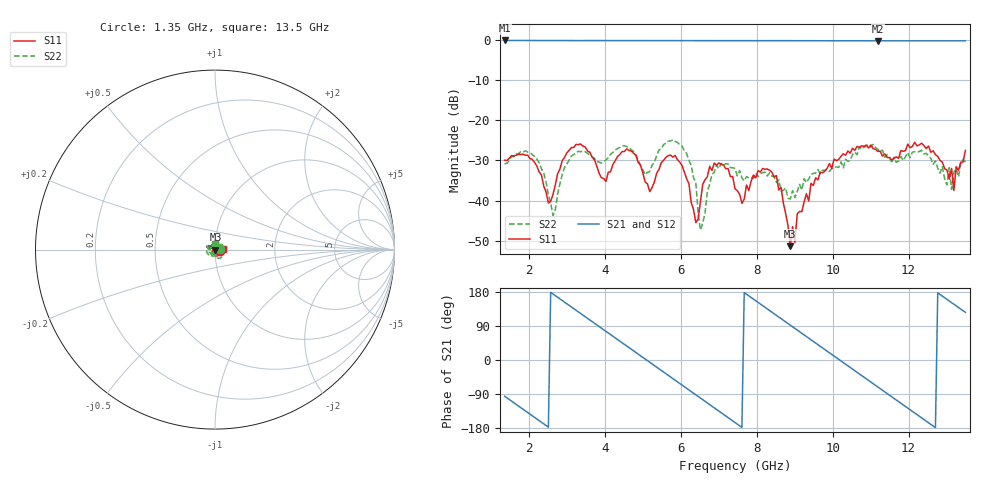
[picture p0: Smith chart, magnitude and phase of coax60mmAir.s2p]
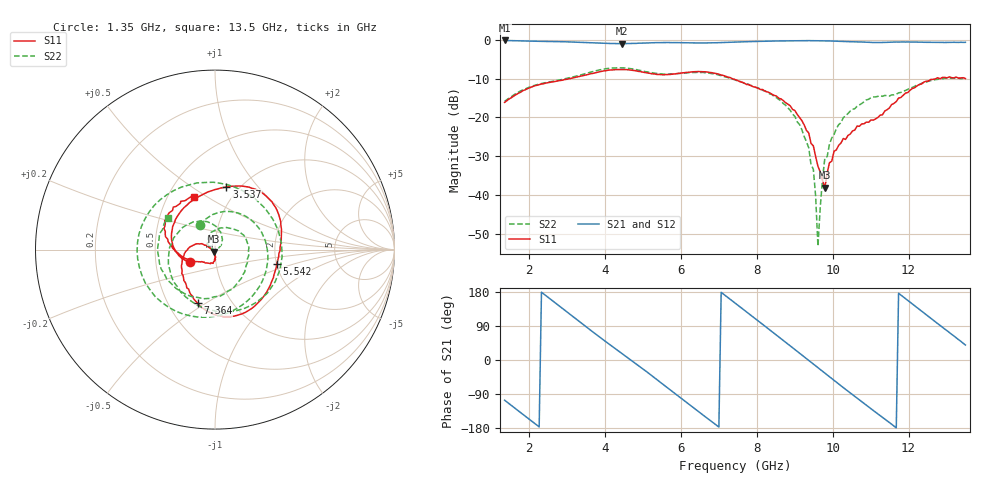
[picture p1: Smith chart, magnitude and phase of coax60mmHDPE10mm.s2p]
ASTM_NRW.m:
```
%%
%NRW from ASTM paper
% process_stripline
eps0=8.85418782e-12;
mu0=1.2566370614e-6;
c0=1/sqrt(eps0*mu0);
eta0=sqrt(mu0/eps0); % free space
c=1/sqrt(eps0*mu0);
material_width = 10e-3;
d = material_width;
%%
air_file = 'coax60mmAir.s2p';
frequency = dlmread(air_file,' ',9,0,[9 0 209 0])/1e9;
air_mag11 = dlmread(air_file,' ',9,1,[9 1 209 1]);
air_phase11 = dlmread(air_file,' ',9,2,[9 2 209 2]);
air_mag21 = dlmread(air_file,' ',9,3,[9 3 209 3]);
air_phase21 = dlmread(air_file,' ',9,4,[9 4 209 4]);
air_mag12 = dlmread(air_file,' ',9,5,[9 5 209 5]);
air_phase12 = dlmread(air_file,' ',9,6,[9 6 209 6]);
air_mag22 = dlmread(air_file,' ',9,7,[9 7 209 7]);
air_phase22 = dlmread(air_file,' ',9,8,[9 8 209 8]);
air11=complex((10.^(air_mag11/20)).*exp(1i*air_phase11/180*pi));
air21=complex((10.^(air_mag21/20)).*exp(1i*air_phase21/180*pi));
air12=complex((10.^(air_mag12/20)).*exp(1i*air_phase12/180*pi));

medium_file = 'coax60mmHDPE10mm.s2p';
%medium_file = 'Calibrated_coax_5mmCoZn-7-28-16.s2p';
med_mag11 = dlmread(medium_file,' ',9,1,[9 1 209 1]);
med_phase11 = dlmread(medium_file,' ',9,2,[9 2 209 2]);
med_mag21 = dlmread(medium_file,' ',9,3,[9 3 209 3]);
med_phase21 = dlmread(medium_file,' ',9,4,[9 4 209 4]);
med_mag12 = dlmread(medium_file,' ',9,5,[9 5 209 5]);
med_phase12 = dlmread(medium_file,' ',9,6,[9 6 209 6]);
med_mag22 = dlmread(medium_file,' ',9,7,[9 7 209 7]);
med_phase22 = dlmread(medium_file,' ',9,8,[9 8 209 8]);
med11=complex((10.^(med_mag11/20)).*exp(1i*med_phase11/180*pi));
med21=complex((10.^(med_mag21/20)).*exp(1i*med_phase21/180*pi));
med12=complex((10.^(med_mag12/20)).*exp(1i*med_phase12/180*pi));

time_air11=ifft(air11,8000);
time_air21=ifft(air21,8000);
time_air12=ifft(air12,8000);
time_med11=ifft(med11,8000);
time_med21=ifft(med21,8000);
time_med12=ifft(med12,8000);
%% Time gating
[tt,c1]=max(abs(time_air21));
t=zeros(length(time_air21),1);
t(:,1)=1:1:length(t);
win_length = 25000;
t_win=exp(-(t-c1).^2/win_length);
%{
figure(2)
plot(t_win*tt,'g--','linewidth',2)
hold on
plot(t,abs(time_air21),t,abs(time_med21))
legend('air','material')
xlim([(c1 - 1000) (c1 + 1000)])
%}
time_air11_filter=t_win.*time_air11;
time_air21_filter=t_win.*time_air21;
time_air12_filter=t_win.*time_air12;
time_med11_filter=t_win.*time_med21;
time_med21_filter=t_win.*time_med21;
time_med12_filter=t_win.*time_med12;

temp_air11=fft(time_air11_filter);
temp_air21=fft(time_air21_filter);
temp_air12=fft(time_air12_filter);
temp_med11=fft(time_med11_filter);
temp_med21=fft(time_med21_filter);
temp_med12=fft(time_med12_filter);

filtered_air11=temp_air11(1:201);
filtered_air21=temp_air21(1:201);
filtered_air12=temp_air12(1:201);
filtered_med11=temp_med11(1:201);
filtered_med21=temp_med21(1:201);
filtered_med12=temp_med12(1:201);

beta=2*pi*frequency*1e9/c0;
s11=med11./air11;
s21 = med21./air21.*exp(-1i*beta*material_width);
%s21=filtered_med21./filtered_air21.*exp(-1i*beta*material_width);
%s12=filtered_med12./filtered_air12.*exp(-1i*beta*material_width);
freq2 = frequency*1e9;
xi = (s11.^2 - s21.^2 + 1)./(2*s11);
gamma_minus = xi - sqrt(xi.^2 - 1);
gamma_plus = xi + sqrt(xi.^2 - 1);
gamma = zeros(size(gamma_plus));
gamma(abs(gamma_minus) <= 1) = gamma_minus(abs(gamma_minus) < 1);
gamma(abs(gamma_plus) <= 1) = gamma_plus(abs(gamma_plus) < 1);
trans = (s11 + s21 - gamma)./(1 - (s11 + s21).*gamma);
inverse_square_delta = -(log(1./trans)./(2*pi*material_width)).^2;
inverse_delta = sqrt(inverse_square_delta);
mu = (1+gamma)./(1-gamma).*inverse_delta./sqrt(beta.^2);
epsilon = 4*pi^2.*inverse_square_delta./(mu.*beta.^2);
fs = 14;
figure
subplot(211)
plot(frequency, real(epsilon), frequency, imag(epsilon))
legend('real \epsilon','imaginary \epsilon','Location','northeast')
title('10mm HDPE in 50 mm coax Complex Permittivity')
ax = gca; ax.FontSize = 12;
grid on
%xlim([2 12])
%ylim([-10 10])
subplot(212)
plot(frequency, real(mu), frequency, imag(mu))
legend('real \mu','imaginary \mu','Location','northeast')
title('10mm HDPE in 50 mm coax Complex Permeability')
grid on
bx = gca; bx.FontSize = 12;
%ylim([-1 1])
%xlim([2 12])
```
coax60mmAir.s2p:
!Agilent Technologies,N5230C,MY48100320,A.08.04.10
!Agilent N5230C: A.08.04.10
!Date: Thursday, August 04, 2016 04:11:31
!Correction: S11(Full 2 Port(1,2))
!S21(Full 2 Port(1,2))
!S12(Full 2 Port(1,2))
!S22(Full 2 Port(1,2))
!S2P File: Measurements: S11, S21, S12, S22:
# Hz S  dB  R 50
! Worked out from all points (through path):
!   201 points, 1.35 GHz to 13.5 GHz, reference 50 ohm
!   highest |S21| = -0.09 dB at 1.35 GHz (marker M1); lowest = -0.2 dB at 11.19 GHz (marker M2)
!   group delay of S21, straight-line fit = 196 ps
!   lowest |S11| = -51.4 dB at 8.883 GHz (marker M3), VSWR 1.01, Z = 50.3 - j0.0188 ohm
!   |S11| at or under -10 dB: start of sweep to end of sweep
!   |S22| runs from -47.4 to -24.9 dB; largest |S21 - S12| = 0.0045
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1.35027e9  -29.94 -16.5  -0.09 -95.6  -0.09 -95.6  -30.86 8.7
2.565243e9  -40.23 -32.8  -0.10 178.5  -0.11 178.5  -40.61 -99.6
3.780216e9  -31.41 -1.8  -0.11 92.7  -0.12 92.7  -30.27 -12.6
5.238184e9  -36.81 141.6  -0.13 -10.3  -0.14 -10.3  -31.17 29.5
6.513905e9  -40.40 -84.6  -0.12 -100.5  -0.14 -100.4  -47.39 -106.3
7.425135e9  -37.10 -152.1  -0.14 -164.9  -0.14 -164.9  -32.01 19.4
8.883103e9  -51.39 -4.0  -0.15 91.9  -0.16 92.0  -39.60 -50.1
1.009808e10  -30.05 11.7  -0.17 6.0  -0.17 6.1  -31.59 174.4
1.119155e10  -27.75 18.5  -0.20 -71.1  -0.19 -71.0  -27.22 5.1
1.246727e10  -27.05 83.8  -0.20 -161.3  -0.19 -161.2  -28.24 130.3
1.35e10  -27.51 0.9  -0.19 125.8  -0.20 125.9  -30.40 92.4
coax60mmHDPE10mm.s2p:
!Agilent Technologies,N5230C,MY48100320,A.08.04.10
!Agilent N5230C: A.08.04.10
!Date: Thursday, August 04, 2016 04:19:41
!Correction: S11(Full 2 Port(1,2))
!S21(Full 2 Port(1,2))
!S12(Full 2 Port(1,2))
!S22(Full 2 Port(1,2))
!S2P File: Measurements: S11, S21, S12, S22:
# Hz S  dB  R 50
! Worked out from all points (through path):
!   201 points, 1.35 GHz to 13.5 GHz, reference 50 ohm
!   highest |S21| = -0.20 dB at 1.35 GHz (marker M1); lowest = -1.0 dB at 4.448 GHz (marker M2)
!   group delay of S21, straight-line fit = 214 ps
!   lowest |S11| = -38.1 dB at 9.794 GHz (marker M3), VSWR 1.03, Z = 49.5 - j1.11 ohm
!   |S11| at or under -10 dB: start of sweep to 3.082 GHz; 7.345 GHz to 12.73 GHz (5.384 GHz wide, 53.6 % of centre); 12.81906 GHz to 12.84154 GHz (22.48 MHz wide, 0.175 % of centre)
!   |S22| runs from -53.2 to -7.2 dB; largest |S21 - S12| = 0.0052
!   S11 on the Smith chart (normalised r, x): 1.35 GHz: 0.75, -0.11; 3.537 GHz: 0.88, +0.70; 5.542 GHz: 2.01, -0.36; 7.364 GHz: 0.70, -0.46; 13.5 GHz: 0.67, +0.44
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1.35027e9  -16.14 -153.2  -0.20 -106.1  -0.21 -106.1  -15.91 121.5
3.537221e9  -9.00 79.7  -0.75 84.8  -0.74 84.8  -8.59 -90.0
4.448451e9  -7.66 40.2  -1.03 16.9  -1.02 17.0  -7.26 174.6
5.541927e9  -9.05 -12.9  -0.75 -65.4  -0.75 -65.3  -8.88 58.6
7.364386e9  -10.10 -108.1  -0.64 155.1  -0.65 155.2  -10.17 -121.8
7.425135e9  -10.27 -110.7  -0.62 150.6  -0.62 150.6  -10.33 -128.6
9.126097e9  -20.04 161.1  -0.26 18.1  -0.26 18.2  -21.84 61.8
9.612086e9  -32.59 161.8  -0.27 -20.3  -0.28 -20.2  -53.17 -156.3
9.794332e9  -38.13 -115.5  -0.30 -34.7  -0.30 -34.6  -30.45 165.5
1.167754e10  -15.93 -159.8  -0.60 -179.1  -0.61 -179.0  -14.05 -31.5
1.35e10  -9.99 111.8  -0.69 39.5  -0.69 39.7  -9.94 145.9
